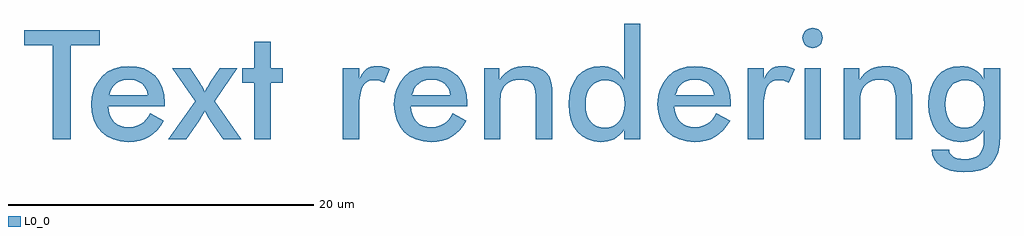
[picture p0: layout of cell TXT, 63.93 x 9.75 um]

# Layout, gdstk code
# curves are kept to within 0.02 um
import gdstk
lib = gdstk.Library(unit=1e-6, precision=1e-09)
def R(c, l, rs):  # rectangles x0, y0, x1, y1
    for r in rs: c.add(gdstk.rectangle(r[:2], r[2:], *l))
def P(c, l, *ps):  # polygons
    for p in ps: c.add(gdstk.Polygon(p, *l))
L0_0 = (0, 0)

txt = lib.new_cell('TXT')
R(txt, L0_0, [(51.197,0,52.257,4.63)])
P(txt, L0_0, [(3.13,6.163),(3.13,0),(1.967,0),(1.967,6.163),(0.069,6.163),(0.069,7.148),(5.02,7.148),(5.02,6.163)],
  [(7.29,-0.17),(7.64,-0.11),(7.96,0),(8.26,0.15),(8.54,0.34),(8.79,0.58),(9.23,1.19),(8.34,1.69),(8.06,1.28),(7.91,1.12),(7.56,0.9),(7.13,0.79),(6.61,0.8),(6.37,0.87),(6.15,0.99),(5.96,1.15),(5.81,1.35),(5.69,1.58),(5.58,2.16),(9.28,2.16),(9.24,2.9),(9.12,3.38),(8.93,3.8),(8.65,4.15),(8.31,4.43),(7.91,4.63),(7.44,4.75),(6.91,4.79),(6.4,4.75),(5.94,4.62),(5.52,4.4),(5.16,4.09),(4.86,3.71),(4.65,3.29),(4.53,2.87),(5.65,2.87),(5.82,3.32),(6.09,3.64),(6.26,3.75),(6.46,3.83),(6.68,3.88),(6.93,3.89),(7.19,3.88),(7.42,3.83),(7.8,3.63),(8.05,3.31),(8.13,3.11),(8.18,2.87),(4.53,2.87),(4.48,2.3),(4.52,1.76),(4.64,1.28),(4.85,0.86),(5.14,0.49),(5.5,0.19),(5.91,-0.02),(6.38,-0.15),(6.91,-0.19)],
  [(10.699,0),(9.528,0),(11.281,2.491),(9.781,4.63),(10.948,4.63),(11.695,3.527),(11.92,3.111),(12.248,3.681),(12.892,4.63),(14.049,4.63),(12.549,2.481),(14.288,0),(13.131,0),(12.232,1.275),(11.91,1.85),(11.585,1.281)],
  [(15.162,0),(15.162,3.702),(14.351,3.702),(14.351,4.63),(15.162,4.63),(15.162,6.381),(16.221,6.381),(16.221,4.63),(17.032,4.63),(17.032,3.702),(16.221,3.702),(16.221,0)],
  [(22.023,3.892),(22.221,4.291),(22.341,4.445),(22.623,4.667),(22.789,4.736),(23.17,4.791),(23.393,4.777),(23.72,4.706),(24.04,4.58),(23.659,3.681),(23.516,3.766),(23.28,3.846),(23.009,3.872),(22.764,3.846),(22.556,3.766),(22.386,3.635),(22.252,3.45),(22.152,3.203),(22.08,2.884),(22.037,2.494),(22.023,0),(20.963,0),(20.963,4.639),(22.023,4.639)],
  [(27.11,-0.17),(27.46,-0.11),(27.79,0),(28.09,0.15),(28.36,0.34),(28.62,0.58),(28.85,0.87),(29.05,1.19),(28.16,1.69),(28.03,1.47),(27.73,1.12),(27.38,0.9),(26.96,0.79),(26.44,0.8),(26.19,0.87),(25.97,0.99),(25.79,1.15),(25.63,1.35),(25.52,1.58),(25.44,1.85),(25.4,2.16),(29.1,2.16),(29.06,2.9),(28.95,3.38),(28.75,3.8),(28.48,4.15),(28.13,4.43),(27.73,4.63),(27.26,4.75),(26.73,4.79),(26.22,4.75),(25.76,4.62),(25.35,4.4),(24.98,4.09),(24.69,3.71),(24.47,3.29),(24.36,2.87),(25.47,2.87),(25.64,3.32),(25.91,3.64),(26.28,3.83),(26.51,3.88),(26.75,3.89),(27.02,3.88),(27.25,3.83),(27.62,3.63),(27.77,3.48),(27.88,3.31),(27.96,3.11),(28,2.87),(24.36,2.87),(24.3,2.3),(24.34,1.76),(24.47,1.28),(24.67,0.86),(24.96,0.49),(25.32,0.19),(25.73,-0.02),(26.21,-0.15),(26.73,-0.19)],
  [(30.206,0),(30.206,4.63),(31.202,4.63),(31.202,3.872),(31.367,4.095),(31.741,4.444),(32.175,4.667),(32.425,4.736),(32.994,4.791),(33.473,4.75),(33.875,4.627),(34.199,4.423),(34.332,4.292),(34.501,4.041),(34.588,3.819),(34.643,3.545),(34.674,2.808),(34.674,0),(33.605,0),(33.605,2.378),(33.549,3.138),(33.479,3.402),(33.381,3.591),(33.249,3.723),(33.074,3.817),(32.855,3.873),(32.594,3.892),(32.242,3.858),(31.795,3.68),(31.566,3.487),(31.376,3.179),(31.291,2.792),(31.269,2.376),(31.266,0)],
  [(38.09,-0.18),(38.31,-0.14),(38.72,0),(39.07,0.25),(39.38,0.6),(39.38,0),(40.44,0),(40.44,7.57),(39.38,7.57),(39.38,3.87),(39.14,4.26),(38.98,4.42),(38.58,4.66),(38.1,4.78),(37.82,4.79),(37.38,4.75),(36.98,4.62),(36.63,4.41),(36.32,4.11),(36.07,3.74),(35.89,3.32),(35.78,2.85),(35.74,2.29),(36.85,2.29),(36.87,2.64),(37.04,3.21),(37.19,3.43),(37.38,3.62),(37.6,3.74),(37.86,3.82),(38.14,3.85),(38.42,3.82),(38.67,3.75),(38.89,3.62),(39.08,3.45),(39.22,3.23),(39.33,2.97),(39.39,2.67),(39.39,1.99),(39.32,1.69),(39.21,1.42),(39.05,1.18),(38.86,0.99),(38.64,0.86),(38.4,0.78),(38.12,0.75),(37.84,0.78),(37.58,0.85),(37.37,0.98),(37.18,1.15),(37.04,1.37),(36.93,1.64),(36.87,1.94),(36.85,2.29),(35.74,2.29),(35.78,1.77),(35.88,1.28),(36.06,0.85),(36.31,0.48),(36.62,0.19),(36.98,-0.02),(37.39,-0.15),(37.85,-0.19)],
  [(44.37,-0.17),(44.72,-0.11),(45.05,0),(45.35,0.15),(45.62,0.34),(45.88,0.58),(46.32,1.19),(45.42,1.69),(45.29,1.47),(44.99,1.12),(44.64,0.9),(44.22,0.79),(43.7,0.8),(43.45,0.87),(43.24,0.99),(43.05,1.15),(42.89,1.35),(42.78,1.58),(42.7,1.85),(42.66,2.16),(46.36,2.16),(46.32,2.9),(46.21,3.38),(46.01,3.8),(45.74,4.15),(45.4,4.43),(44.99,4.63),(44.52,4.75),(43.99,4.79),(43.48,4.75),(43.02,4.62),(42.61,4.4),(42.24,4.09),(41.95,3.71),(41.73,3.29),(41.62,2.87),(42.73,2.87),(42.9,3.32),(43.17,3.64),(43.54,3.83),(43.77,3.88),(44.02,3.89),(44.28,3.88),(44.51,3.83),(44.88,3.63),(45.03,3.48),(45.14,3.31),(45.22,3.11),(45.27,2.87),(41.62,2.87),(41.56,2.3),(41.6,1.76),(41.73,1.28),(41.93,0.86),(42.22,0.49),(42.58,0.19),(43,-0.02),(43.47,-0.15),(43.99,-0.19)],
  [(48.527,3.892),(48.725,4.291),(48.844,4.445),(49.127,4.667),(49.293,4.736),(49.673,4.791),(49.896,4.777),(50.224,4.706),(50.544,4.58),(50.162,3.681),(50.02,3.766),(49.784,3.846),(49.513,3.872),(49.268,3.846),(49.06,3.766),(48.89,3.635),(48.756,3.45),(48.656,3.203),(48.584,2.884),(48.541,2.494),(48.527,0),(47.467,0),(47.467,4.639),(48.527,4.639)],
  [(51.055,6.631),(51.105,6.882),(51.254,7.095),(51.471,7.242),(51.725,7.291),(51.984,7.243),(52.196,7.102),(52.336,6.89),(52.383,6.631),(52.336,6.371),(52.193,6.155),(51.981,6.011),(51.725,5.963),(51.471,6.012),(51.254,6.159),(51.105,6.377)],
  [(53.771,0),(53.771,4.63),(54.766,4.63),(54.766,3.872),(54.932,4.095),(55.305,4.444),(55.74,4.667),(55.989,4.736),(56.558,4.791),(57.037,4.75),(57.44,4.627),(57.764,4.423),(57.896,4.292),(58.065,4.041),(58.153,3.819),(58.207,3.545),(58.238,2.808),(58.238,0),(57.169,0),(57.169,2.378),(57.113,3.138),(57.044,3.402),(56.946,3.591),(56.813,3.723),(56.638,3.817),(56.42,3.873),(56.158,3.892),(55.807,3.858),(55.359,3.68),(55.131,3.487),(54.94,3.179),(54.856,2.792),(54.833,2.376),(54.83,0)],
  [(62.23,-2.14),(62.74,-2.04),(63.15,-1.87),(63.46,-1.62),(63.7,-1.3),(63.87,-0.87),(63.97,-0.34),(64,0.29),(64,4.63),(62.95,4.63),(62.95,3.87),(62.84,4.08),(62.54,4.42),(62.14,4.66),(61.66,4.78),(61.39,4.79),(60.95,4.75),(60.55,4.62),(60.19,4.41),(59.88,4.11),(59.63,3.74),(59.45,3.32),(59.34,2.85),(59.31,2.29),(60.42,2.29),(60.44,2.64),(60.5,2.94),(60.61,3.21),(60.76,3.43),(60.95,3.62),(61.17,3.74),(61.42,3.82),(61.7,3.85),(61.99,3.82),(62.24,3.75),(62.46,3.62),(62.64,3.45),(62.79,3.23),(62.89,2.97),(62.95,2.67),(62.95,1.99),(62.88,1.69),(62.77,1.42),(62.62,1.19),(62.42,1),(62.2,0.86),(61.96,0.78),(61.69,0.75),(61.4,0.78),(61.15,0.85),(60.93,0.98),(60.75,1.15),(60.6,1.37),(60.5,1.64),(60.44,1.94),(60.42,2.29),(59.31,2.29),(59.34,1.77),(59.45,1.28),(59.62,0.85),(59.87,0.48),(60.18,0.19),(60.54,-0.02),(60.95,-0.15),(61.65,-0.18),(62.09,-0.08),(62.28,0),(62.64,0.25),(62.95,0.6),(62.92,-0.34),(62.86,-0.61),(62.76,-0.84),(62.63,-1.01),(62.46,-1.14),(62.24,-1.23),(61.97,-1.29),(61.44,-1.3),(61.08,-1.22),(60.83,-1.07),(60.69,-0.84),(60.67,-0.7),(59.53,-0.7),(59.57,-1.02),(59.68,-1.31),(59.86,-1.56),(60.11,-1.78),(60.42,-1.95),(60.78,-2.08),(61.18,-2.15),(61.64,-2.18)])

lib.write_gds('TXT.gds')
